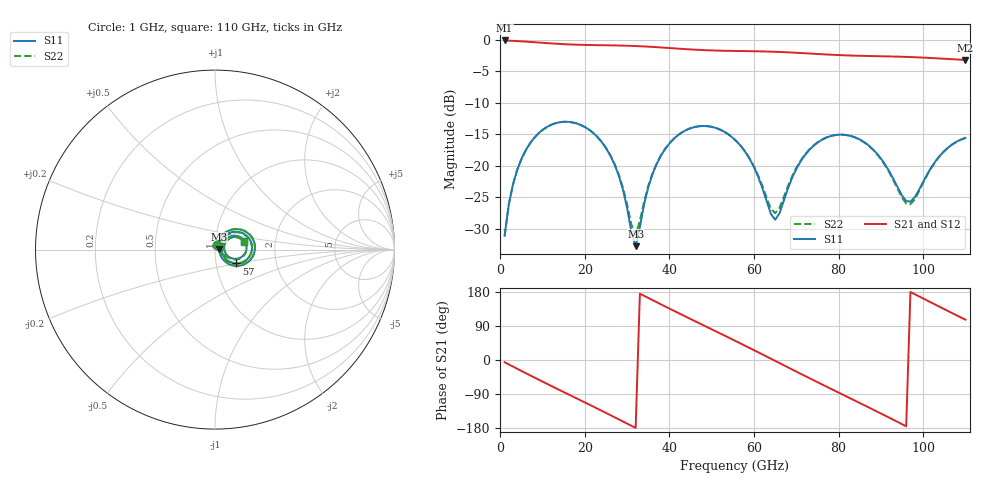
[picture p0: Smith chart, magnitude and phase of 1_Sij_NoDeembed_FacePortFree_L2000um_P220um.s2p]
! Touchstone file exported from HFSS 2024.2.0
!  File:  C:/Users/vaintrug/Documents/Ansoft_Workspace/Comparaison_Calculs_HFSS/1_VarPort.aedt
!  Generated:  03:22:18 PM Jan 21, 2025
!  Design:  1_NoDeembed_FacePortFree
!  Project:  1_VarPort
!  Setup:  Setup1
!  Solution:  Sweep
! Variables:
!  $Lenght = 2000um
!  $PortSize = 220um
!  Gap = 30um
!  Th = 2um
!  X_centralStrip = 20um
!  X_masse = 200um
!  Y_Sub = 2mm
!  Z_Box = 400um
!  Z_Sub = 200um
# GHz S MA R 50.000000
! Terminal data exported
! Port[1] = 1
! Port[2] = 2
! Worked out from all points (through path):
!   110 points, 1 GHz to 110 GHz, reference 50 ohm
!   highest |S21| = -0.13 dB at 1 GHz (marker M1); lowest = -3.2 dB at 110 GHz (marker M2)
!   group delay of S21, straight-line fit = 15.5 ps
!   lowest |S11| = -32.8 dB at 32 GHz (marker M3), VSWR 1.05, Z = 52.3 + j0.344 ohm
!   |S11| at or under -10 dB: start of sweep to end of sweep
!   |S22| runs from -31.1 to -13.0 dB; largest |S21 - S12| = 1.6e-14
!   S11 on the Smith chart (normalised r, x): 1 GHz: 1.03, +0.05; 57 GHz: 1.25, -0.20; 110 GHz: 1.37, +0.13
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1  0.02782 61.3  0.9854 -5.9  0.9854 -5.9  0.02781 61.3
! Gamma 5.95191194016006 50.1240389559293 5.8987329240778 50.0420673850862
! Port Impedance 50 0 50 0
3  0.07158 65.7  0.9782 -17.4  0.9782 -17.4  0.07155 65.8
7  0.1503 48.6  0.9598 -40.3  0.9598 -40.3  0.1503 48.8
13  0.2172 17.7  0.9294 -73.8  0.9294 -73.8  0.2172 18.1
20  0.2026 -17.6  0.9083 -112.1  0.9083 -112.1  0.203 -16.7
27  0.1024 -48.0  0.8999 -151.0  0.8999 -151.0  0.1037 -45.4
32  0.02302 8.2  0.8899 -179.3  0.8899 -179.3  0.02837 6.6
35  0.06775 56.7  0.8798 163.7  0.8798 163.7  0.06944 52.3
38  0.1206 49.8  0.8672 146.8  0.8672 146.8  0.1213 47.3
43  0.1844 28.3  0.8447 119.1  0.8447 119.1  0.1845 27.0
47  0.2058 9.9  0.8297 97.2  0.8297 97.2  0.2058 9.0
51  0.1992 -8.4  0.8196 75.5  0.8196 75.5  0.1992 -8.8
56  0.1545 -29.4  0.813 48.1  0.813 48.1  0.155 -29.2
57  0.1415 -33.1  0.8121 42.6  0.8121 42.6  0.1422 -32.6
65  0.0373 2.2  0.8012 -2.3  0.8012 -2.3  0.04208 1.3
70  0.09426 43.2  0.7871 -30.5  0.7871 -30.5  0.0961 39.5
74  0.1432 32.2  0.7733 -52.9  0.7733 -52.9  0.144 29.4
83  0.172 -3.8  0.7481 -102.4  0.7481 -102.4  0.1716 -6.0
92  0.09017 -27.7  0.736 -152.4  0.736 -152.4  0.08859 -30.2
97  0.05187 9.8  0.7277 179.4  0.7277 179.4  0.04952 9.4
103  0.1094 36.9  0.7118 145.5  0.7118 145.5  0.1087 36.8
110  0.1662 16.0  0.6905 106.4  0.6905 106.4  0.1659 15.4
